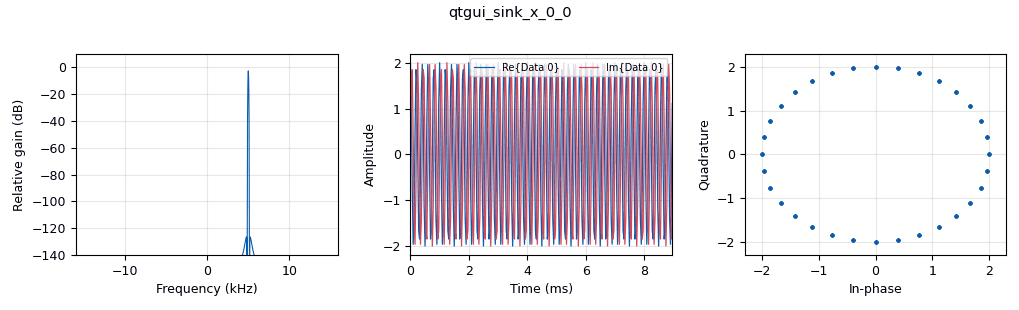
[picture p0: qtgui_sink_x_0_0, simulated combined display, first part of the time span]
options:
  parameters:
    generate_options: qt_gui
    id: lesson2
    output_language: python
    title: lesson2
  states: {}

blocks:
- name: samp_rate
  id: variable
  parameters:
    value: '32000'
  states: {}
- name: analog_sig_source_x_0
  id: analog_sig_source_x
  parameters:
    amp: '1'
    freq: 5e3
    offset: '0'
    phase: '0'
    samp_rate: samp_rate
    type: complex
    waveform: analog.GR_SIN_WAVE
  states: {}
- name: analog_sig_source_x_0_0_0
  id: analog_sig_source_x
  parameters:
    amp: '1'
    freq: 5e3
    offset: '0'
    phase: '0'
    samp_rate: samp_rate
    type: complex
    waveform: analog.GR_COS_WAVE
  states: {}
- name: blocks_add_xx_0
  id: blocks_add_xx
  parameters:
    type: complex
  states: {}
- name: blocks_throttle_0
  id: blocks_throttle
  parameters:
    samples_per_second: 32e3
    type: complex
  states: {}
- name: blocks_throttle_0_0_0
  id: blocks_throttle
  parameters:
    samples_per_second: 32e3
    type: complex
  states: {}
- name: qtgui_sink_x_0_0
  id: qtgui_sink_x
  parameters:
    bw: samp_rate
    fc: '0'
    fftsize: '1024'
    type: complex
    wintype: firdes.WIN_BLACKMAN_hARRIS
  states: {}

connections:
- [analog_sig_source_x_0, '0', blocks_throttle_0, '0']
- [analog_sig_source_x_0_0_0, '0', blocks_throttle_0_0_0, '0']
- [blocks_add_xx_0, '0', qtgui_sink_x_0_0, '0']
- [blocks_throttle_0, '0', blocks_add_xx_0, '0']
- [blocks_throttle_0_0_0, '0', blocks_add_xx_0, '1']

metadata:
  file_format: 1
